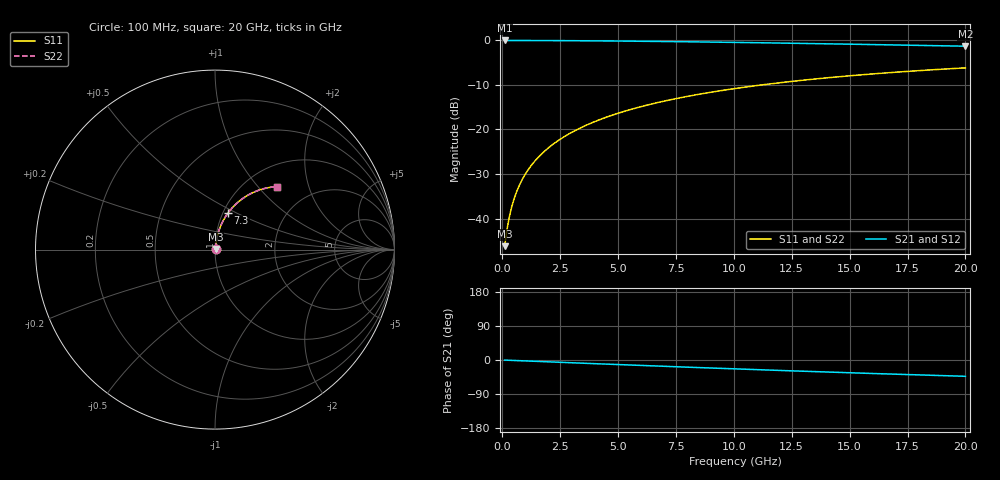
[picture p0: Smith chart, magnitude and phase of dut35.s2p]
! Touchstone file exported from HFSS 2026.1.0
!  File:  C:/ffzhzh/LocalFiles/Ansys_Project_Files/temp_train_TMRDL_35_1782880576_46784.aedt
!  Generated:  12:37:35 PM Jul  1, 2026
!  Design:  TMRDL
!  Project:  temp_train_TMRDL_35_1782880576_46784
! Variables:
!  h_bsmrdl = 2um
!  h_ox = 20um
!  h_rdl = 5um
!  h_sub = 80um
!  h_tmrdl = 4.61um
!  h_tsv = 80um
!  h_via = 3um
!  l_bsmrdl = 300um
!  l_sub = 958.22um
!  l_tmrdl = 558.22um
!  m_sub = 200um
!  pitch = 51.03um
!  r_tsv = 6um
!  s_tmrdl = 10um
!  w_bsmrdl = 18um
!  w_sub = 500um
!  w_tmrdl = 11.73um
!  x_tsv_center1 = 564.085um
!  x_tsv_center2 = 882.085um
!  x_tsv_center3 = 1452.035um
!  x_tsv_center4 = 1770.035um
!  x_tsv_center5 = 2339.985um
!  x_tsv_center6 = 2657.985um
# GHz S MA R 50.000000
! Terminal data exported
! Port[1] = TM_RDL1_1_T1
! Port[2] = TM_RDL1_1_T2
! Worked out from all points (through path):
!   200 points, 100 MHz to 20 GHz, reference 50 ohm
!   highest |S21| = -0.03 dB at 100 MHz (marker M1); lowest = -1.3 dB at 20 GHz (marker M2)
!   group delay of S21, straight-line fit = 5.99 ps
!   lowest |S11| = -46.2 dB at 100 MHz (marker M3), VSWR 1.01, Z = 50.4 + j0.323 ohm
!   |S11| at or under -10 dB: start of sweep to 11.22 GHz
!   |S22| runs from -46.2 to -6.2 dB; largest |S21 - S12| = 2.1e-15
!   S11 on the Smith chart (normalised r, x): 100 MHz: 1.01, +0.01; 7.3 GHz: 1.06, +0.45; 20 GHz: 1.37, +1.27
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0.1  0.004906 40.8  0.9963 -0.3  0.9963 -0.3  0.004906 40.8
! Gamma 0 0 0 0
! Port Impedance 50 0 50 0
0.2  0.007442 59.2  0.9962 -0.5  0.9962 -0.5  0.007442 59.2
0.3  0.01034 67.6  0.9961 -0.7  0.9961 -0.7  0.01034 67.6
0.4  0.01335 72.0  0.996 -1.0  0.996 -1.0  0.01335 72.0
0.5  0.01639 74.7  0.9959 -1.2  0.9959 -1.2  0.01639 74.7
0.6  0.01944 76.5  0.9958 -1.5  0.9958 -1.5  0.01944 76.5
0.8  0.02557 78.6  0.9955 -2.0  0.9955 -2.0  0.02557 78.6
1.1  0.03478 80.2  0.9951 -2.7  0.9951 -2.7  0.03478 80.2
1.5  0.04707 80.8  0.9945 -3.7  0.9945 -3.7  0.04707 80.8
1.8  0.05628 80.8  0.9938 -4.4  0.9938 -4.4  0.05628 80.8
2.1  0.06547 80.7  0.9931 -5.1  0.9931 -5.1  0.06547 80.7
2.7  0.08375 79.9  0.9914 -6.6  0.9914 -6.6  0.08375 79.9
3.5  0.1079 78.5  0.9885 -8.5  0.9885 -8.5  0.1079 78.5
4.2  0.1286 77.1  0.9856 -10.2  0.9856 -10.2  0.1286 77.1
5  0.152 75.4  0.9816 -12.1  0.9816 -12.1  0.152 75.4
6.8  0.2028 71.5  0.9712 -16.2  0.9712 -16.2  0.2028 71.5
7.3  0.2164 70.4  0.9679 -17.4  0.9679 -17.4  0.2164 70.4
8.6  0.251 67.6  0.9588 -20.3  0.9588 -20.3  0.251 67.6
10.1  0.2891 64.5  0.9474 -23.6  0.9474 -23.6  0.2891 64.5
13.4  0.3661 57.8  0.9195 -30.5  0.9195 -30.5  0.3661 57.8
16.7  0.4334 51.5  0.8894 -37.0  0.8894 -37.0  0.4334 51.5
20  0.491 45.5  0.8589 -43.0  0.8589 -43.0  0.4911 45.5
